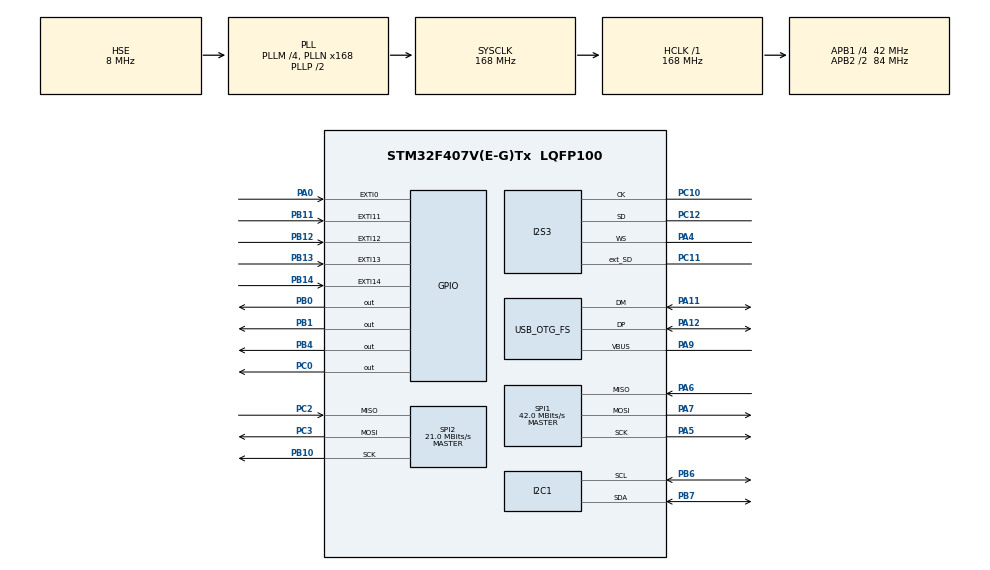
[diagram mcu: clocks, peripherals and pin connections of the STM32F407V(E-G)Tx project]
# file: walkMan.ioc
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Dma.Request0=SPI3_TX
Dma.SPI3_TX.0.Direction=DMA_MEMORY_TO_PERIPH
Dma.SPI3_TX.0.FIFOMode=DMA_FIFOMODE_ENABLE
Dma.SPI3_TX.0.FIFOThreshold=DMA_FIFO_THRESHOLD_FULL
Dma.SPI3_TX.0.Instance=DMA1_Stream5
Dma.SPI3_TX.0.MemBurst=DMA_MBURST_SINGLE
Dma.SPI3_TX.0.MemDataAlignment=DMA_MDATAALIGN_HALFWORD
Dma.SPI3_TX.0.MemInc=DMA_MINC_ENABLE
Dma.SPI3_TX.0.Mode=DMA_CIRCULAR
Dma.SPI3_TX.0.PeriphBurst=DMA_PBURST_SINGLE
Dma.SPI3_TX.0.PeriphDataAlignment=DMA_PDATAALIGN_HALFWORD
Dma.SPI3_TX.0.PeriphInc=DMA_PINC_DISABLE
Dma.SPI3_TX.0.Priority=DMA_PRIORITY_LOW
FATFS._FS_EXFAT=1
FATFS._MAX_SS=4096
FATFS._USE_LFN=1
I2S3.AudioFreq=I2S_AUDIOFREQ_44K
I2S3.ErrorAudioFreq=-0.25 %
I2S3.FullDuplexMode=I2S_FULLDUPLEXMODE_ENABLE
I2S3.Instance=SPI$Index
I2S3.RealAudioFreq=43.887 KHz
I2S3.VirtualMode=I2S_MODE_MASTER
Mcu.Family=STM32F4
Mcu.Name=STM32F407V(E-G)Tx
Mcu.Package=LQFP100
NVIC.DMA1_Stream5_IRQn=true\:0\:0\:false\:false\:true\:false\:true
NVIC.EXTI0_IRQn=true\:0\:0\:false\:false\:true\:true\:true
NVIC.EXTI15_10_IRQn=true\:0\:0\:false\:false\:true\:true\:true
NVIC.OTG_FS_IRQn=true\:0\:0\:false\:false\:true\:false\:true
NVIC.PriorityGroup=NVIC_PRIORITYGROUP_4
PA0-WKUP.Signal=GPXTI0
PA11.Mode=Host_Only
PA11.Signal=USB_OTG_FS_DM
PA12.Mode=Host_Only
PA12.Signal=USB_OTG_FS_DP
PA4.Mode=Full_Duplex_Master
PA4.Signal=I2S3_WS
PA5.Mode=Full_Duplex_Master
PA5.Signal=SPI1_SCK
PA6.Mode=Full_Duplex_Master
PA6.Signal=SPI1_MISO
PA7.Mode=Full_Duplex_Master
PA7.Signal=SPI1_MOSI
PA9.Mode=Activate_VBUS
PA9.Signal=USB_OTG_FS_VBUS
PB0.Signal=GPIO_Output
PB1.Signal=GPIO_Output
PB10.Mode=Full_Duplex_Master
PB10.Signal=SPI2_SCK
PB11.GPIO_ModeDefaultEXTI=GPIO_MODE_IT_RISING_FALLING
PB11.GPIO_PuPd=GPIO_PULLUP
PB11.Signal=GPXTI11
PB12.GPIO_ModeDefaultEXTI=GPIO_MODE_IT_RISING_FALLING
PB12.GPIO_PuPd=GPIO_PULLUP
PB12.Signal=GPXTI12
PB13.GPIO_ModeDefaultEXTI=GPIO_MODE_IT_RISING_FALLING
PB13.GPIO_PuPd=GPIO_PULLUP
PB13.Signal=GPXTI13
PB14.GPIO_ModeDefaultEXTI=GPIO_MODE_IT_RISING_FALLING
PB14.GPIO_PuPd=GPIO_PULLUP
PB14.Signal=GPXTI14
PB4.Signal=GPIO_Output
PB6.Mode=I2C
PB6.Signal=I2C1_SCL
PB7.Mode=I2C
PB7.Signal=I2C1_SDA
PC0.Signal=GPIO_Output
PC10.Mode=Full_Duplex_Master
PC10.Signal=I2S3_CK
PC11.Mode=Full_Duplex_Master
PC11.Signal=I2S3_ext_SD
PC12.Mode=Full_Duplex_Master
PC12.Signal=I2S3_SD
PC2.Mode=Full_Duplex_Master
PC2.Signal=SPI2_MISO
PC3.Mode=Full_Duplex_Master
PC3.Signal=SPI2_MOSI
PH0-OSC_IN.Mode=HSE-External-Oscillator
PH0-OSC_IN.Signal=RCC_OSC_IN
PH1-OSC_OUT.Mode=HSE-External-Oscillator
PH1-OSC_OUT.Signal=RCC_OSC_OUT
ProjectManager.HeapSize=0x400
ProjectManager.StackSize=0x800
ProjectManager.TargetToolchain=STM32CubeIDE
RCC.48MHZClocksFreq_Value=48000000
RCC.AHBFreq_Value=168000000
RCC.APB1CLKDivider=RCC_HCLK_DIV4
RCC.APB1Freq_Value=42000000
RCC.APB1TimFreq_Value=84000000
RCC.APB2CLKDivider=RCC_HCLK_DIV2
RCC.APB2Freq_Value=84000000
RCC.APB2TimFreq_Value=168000000
RCC.CortexFreq_Value=168000000
RCC.HCLKFreq_Value=168000000
RCC.HSE_VALUE=8000000
RCC.HSI_VALUE=16000000
RCC.LSE_VALUE=32768
RCC.PLLI2SN=191
RCC.PLLM=4
RCC.PLLN=168
RCC.PLLQ=7
RCC.SYSCLKFreq_VALUE=168000000
RCC.SYSCLKSource=RCC_SYSCLKSOURCE_PLLCLK
RCC.VCOOutputFreq_Value=336000000
SPI1.BaudRatePrescaler=SPI_BAUDRATEPRESCALER_2
SPI1.CalculateBaudRate=42.0 MBits/s
SPI1.Direction=SPI_DIRECTION_2LINES
SPI1.Mode=SPI_MODE_MASTER
SPI1.VirtualType=VM_MASTER
SPI2.BaudRatePrescaler=SPI_BAUDRATEPRESCALER_2
SPI2.CLKPhase=SPI_PHASE_1EDGE
SPI2.CLKPolarity=SPI_POLARITY_LOW
SPI2.CalculateBaudRate=21.0 MBits/s
SPI2.DataSize=SPI_DATASIZE_8BIT
SPI2.Direction=SPI_DIRECTION_2LINES
SPI2.Mode=SPI_MODE_MASTER
SPI2.VirtualType=VM_MASTER
USB_HOST.BSP.number=1
USB_HOST.USBH_HandleTypeDef-MSC_FS=hUsbHostFS
USB_HOST.VirtualModeFS=Msc
USB_HOST0.BSP.STBoard=false
USB_HOST0.BSP.api=Unknown
USB_HOST0.BSP.i2caddr=0
USB_HOST0.BSP.instance=PC0
USB_HOST0.BSP.ip=GPIO
USB_HOST0.BSP.mode=Output
USB_HOST0.BSP.name=Drive_VBUS_FS
USB_HOST0.BSP.solution=PC0
USB_OTG_FS.VirtualMode=Host_Only
USB_OTG_FS.phy_itface=HCD_PHY_EMBEDDED
VP_FATFS_VS_USB.Mode=USB
VP_USB_HOST_VS_USB_HOST_MSC_FS.Mode=MSC_FS
board=STM32F407G-DISC1

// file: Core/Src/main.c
/* USER CODE BEGIN Header */
/**
  ******************************************************************************
  * @file           : main.c
  * @brief          : Main program body
  ******************************************************************************
  * @attention
  *
  * Copyright (c) 2022 STMicroelectronics.
  * All rights reserved.
  *
  * This software is licensed under terms that can be found in the LICENSE file
  * in the root directory of this software component.
  * If no LICENSE file comes with this software, it is provided AS-IS.
  *
  ******************************************************************************
  */
/* USER CODE END Header */
#include "main.h"
#include "fatfs.h"
#include "usb_host.h"

/* USER CODE BEGIN Includes */
#include "fatfs_sd.h"
#include "LiquidCrystal.h"
#include <stdbool.h>
#include "wav_player.h"
/* USER CODE END Includes */

I2C_HandleTypeDef hi2c1;

I2S_HandleTypeDef hi2s3;
DMA_HandleTypeDef hdma_spi3_tx;

SPI_HandleTypeDef hspi1;
SPI_HandleTypeDef hspi2;

/* USER CODE BEGIN PV */
#define BUF_SIZE_SEND 256
char SendBuffer[BUF_SIZE_SEND];
int sd_state;
int IsFinished = 0;
extern AUDIO_PLAYBACK_StateTypeDef AudioState;

/* USER CODE END PV */

void SystemClock_Config(void);
static void MX_GPIO_Init(void);
static void MX_I2C1_Init(void);
static void MX_SPI1_Init(void);
static void MX_SPI2_Init(void);
static void MX_DMA_Init(void);
static void MX_I2S3_Init(void);
void MX_USB_HOST_Process(void);

/* USER CODE BEGIN 0 */
//File system
/*
FATFS fs;
FATFS *pfs;
FIL fil;
DIR dir;
FILINFO fno;
FRESULT fres;
DWORD fre_clust, fre_sect, tot_sect;
*/
int audioUpdate=0;
int newSong=0;
int updateLCD=0;
int play=1;
char lcdOutput[13];

/***************************************
 * Button interupt
 **************************************/

void HAL_GPIO_EXTI_Callback(uint16_t GPIO_Pin)
{
	if (GPIO_Pin == GPIO_PIN_0)
	{
		if (AudioState == AUDIO_STATE_PLAY)
		{
			updateLCD=1;
			play=0;
			AudioState = AUDIO_STATE_PAUSE;
		}

		if (AudioState == AUDIO_STATE_WAIT)
		{
			updateLCD=1;
			play=1;
			AudioState = AUDIO_STATE_RESUME;
		}
	}

	if (GPIO_Pin == GPIO_PIN_11)
	{
		updateLCD=1;
		audioUpdate=1;
		AudioState = AUDIO_STATE_VOLUME_DOWN;
	}

	if (GPIO_Pin == GPIO_PIN_12)
	{
		updateLCD=1;
		audioUpdate=1;
		AudioState = AUDIO_STATE_VOLUME_UP;
	}
	if (GPIO_Pin == GPIO_PIN_14)
	{
		updateLCD=1;
		audioUpdate=0;
		play=1;
		AudioState = AUDIO_STATE_PREVIOUS;
	}
	if (GPIO_Pin == GPIO_PIN_13)
	{
		updateLCD=1;
		audioUpdate=0;
		play=1;
		AudioState = AUDIO_STATE_NEXT;
	}
}

/* USER CODE END 0 */

int main(void)
{
  /* USER CODE BEGIN 1 */
	extern AUDIO_PLAYBACK_StateTypeDef AudioState;
	extern ApplicationTypeDef Appli_state;
  /* USER CODE END 1 */

  /* MCU Configuration--------------------------------------------------------*/

  /* Reset of all peripherals, Initializes the Flash interface and the Systick. */
   HAL_Init();

  /* Configure the system clock */
  SystemClock_Config();

  /* Initialize all configured peripherals */
  MX_GPIO_Init();
  MX_I2C1_Init();
  MX_SPI1_Init();
  MX_SPI2_Init();
  MX_DMA_Init();
  MX_I2S3_Init();
  MX_USB_HOST_Init();
  MX_FATFS_Init();
  /* USER CODE BEGIN 2 */
  LiquidCrystal(GPIOE, GPIO_PIN_7,GPIO_PIN_9, GPIO_PIN_8, GPIO_PIN_10, GPIO_PIN_11, GPIO_PIN_12, GPIO_PIN_13);
  print("LCD: [OK]");
  HAL_Delay(1000);
  clear();

  // Open Root
  //sd_state = mountSD();

  /* USER CODE END 2 */

  /* Infinite loop */
  /* USER CODE BEGIN WHILE */
  while (1)
  {

	  //sd_state = mountSD();
	  updateLCD=1;
	  MX_USB_HOST_Process();
	  if (sd_state || Appli_state==APPLICATION_READY)
	  {
		  if(Appli_state==APPLICATION_READY){
			  Mount_USB();
		  }
	      	AUDIO_PLAYER_Start(0);
	      	clear();
	      	while (!IsFinished)
	      	{
	      		char lcdOutput[13];
	      		char lcdFileName[16];
	      		if((audioUpdate && updateLCD))
	      		{
	      			updateLCD=0;
	      			clear();
	      			sprintf(lcdOutput,"VOL %d",getVol());
	    	      	print(lcdOutput);

	      		}
	      		else if((updateLCD && !audioUpdate) || (updateLCD && play))
	      		{
	      			updateLCD=0;
	      			clear();
	      			setCursor(0,0);
	      			sprintf(lcdFileName,"%16s",getFileName());
	    	      	print(lcdFileName);
	    	      	setCursor(0,1);
	    	      	if(play)
	    	      		print("PLAYING");
	    	      	else
	    	      		print("PAUSE");
	      		}

	      		AUDIO_PLAYER_Process(true);

	      		if (AudioState == AUDIO_STATE_STOP)
	      		{
	      			IsFinished = 1;
	      		}
	      	}
	      }

  	}
    /* USER CODE END WHILE */
    MX_USB_HOST_Process();

}

void SystemClock_Config(void)
{
  RCC_OscInitTypeDef RCC_OscInitStruct = {0};
  RCC_ClkInitTypeDef RCC_ClkInitStruct = {0};

  /** Configure the main internal regulator output voltage
  */
  __HAL_RCC_PWR_CLK_ENABLE();
  __HAL_PWR_VOLTAGESCALING_CONFIG(PWR_REGULATOR_VOLTAGE_SCALE1);
  /** Initializes the RCC Oscillators according to the specified parameters
  * in the RCC_OscInitTypeDef structure.
  */
  RCC_OscInitStruct.OscillatorType = RCC_OSCILLATORTYPE_HSE;
  RCC_OscInitStruct.HSEState = RCC_HSE_ON;
  RCC_OscInitStruct.PLL.PLLState = RCC_PLL_ON;
  RCC_OscInitStruct.PLL.PLLSource = RCC_PLLSOURCE_HSE;
  RCC_OscInitStruct.PLL.PLLM = 4;
  RCC_OscInitStruct.PLL.PLLN = 168;
  RCC_OscInitStruct.PLL.PLLP = RCC_PLLP_DIV2;
  RCC_OscInitStruct.PLL.PLLQ = 7;
  if (HAL_RCC_OscConfig(&RCC_OscInitStruct) != HAL_OK)
  {
    Error_Handler();
  }
  /** Initializes the CPU, AHB and APB buses clocks
  */
  RCC_ClkInitStruct.ClockType = RCC_CLOCKTYPE_HCLK|RCC_CLOCKTYPE_SYSCLK
                              |RCC_CLOCKTYPE_PCLK1|RCC_CLOCKTYPE_PCLK2;
  RCC_ClkInitStruct.SYSCLKSource = RCC_SYSCLKSOURCE_PLLCLK;
  RCC_ClkInitStruct.AHBCLKDivider = RCC_SYSCLK_DIV1;
  RCC_ClkInitStruct.APB1CLKDivider = RCC_HCLK_DIV4;
  RCC_ClkInitStruct.APB2CLKDivider = RCC_HCLK_DIV2;

  if (HAL_RCC_ClockConfig(&RCC_ClkInitStruct, FLASH_LATENCY_5) != HAL_OK)
  {
    Error_Handler();
  }
}

static void MX_I2C1_Init(void)
{

  hi2c1.Instance = I2C1;
  hi2c1.Init.ClockSpeed = 100000;
  hi2c1.Init.DutyCycle = I2C_DUTYCYCLE_2;
  hi2c1.Init.OwnAddress1 = 0;
  hi2c1.Init.AddressingMode = I2C_ADDRESSINGMODE_7BIT;
  hi2c1.Init.DualAddressMode = I2C_DUALADDRESS_DISABLE;
  hi2c1.Init.OwnAddress2 = 0;
  hi2c1.Init.GeneralCallMode = I2C_GENERALCALL_DISABLE;
  hi2c1.Init.NoStretchMode = I2C_NOSTRETCH_DISABLE;
  if (HAL_I2C_Init(&hi2c1) != HAL_OK)
  {
    Error_Handler();
  }

}

static void MX_I2S3_Init(void)
{

  hi2s3.Instance = SPI3;
  hi2s3.Init.Mode = I2S_MODE_MASTER_TX;
  hi2s3.Init.Standard = I2S_STANDARD_PHILIPS;
  hi2s3.Init.DataFormat = I2S_DATAFORMAT_16B;
  hi2s3.Init.MCLKOutput = I2S_MCLKOUTPUT_DISABLE;
  hi2s3.Init.AudioFreq = I2S_AUDIOFREQ_44K;
  hi2s3.Init.CPOL = I2S_CPOL_LOW;
  hi2s3.Init.ClockSource = I2S_CLOCK_PLL;
  hi2s3.Init.FullDuplexMode = I2S_FULLDUPLEXMODE_ENABLE;
  if (HAL_I2S_Init(&hi2s3) != HAL_OK)
  {
    Error_Handler();
  }

}

static void MX_SPI1_Init(void)
{

  /* SPI1 parameter configuration*/
  hspi1.Instance = SPI1;
  hspi1.Init.Mode = SPI_MODE_MASTER;
  hspi1.Init.Direction = SPI_DIRECTION_2LINES;
  hspi1.Init.DataSize = SPI_DATASIZE_8BIT;
  hspi1.Init.CLKPolarity = SPI_POLARITY_LOW;
  hspi1.Init.CLKPhase = SPI_PHASE_1EDGE;
  hspi1.Init.NSS = SPI_NSS_SOFT;
  hspi1.Init.BaudRatePrescaler = SPI_BAUDRATEPRESCALER_2;
  hspi1.Init.FirstBit = SPI_FIRSTBIT_MSB;
  hspi1.Init.TIMode = SPI_TIMODE_DISABLE;
  hspi1.Init.CRCCalculation = SPI_CRCCALCULATION_DISABLE;
  hspi1.Init.CRCPolynomial = 10;
  if (HAL_SPI_Init(&hspi1) != HAL_OK)
  {
    Error_Handler();
  }

}

static void MX_SPI2_Init(void)
{

  /* SPI2 parameter configuration*/
  hspi2.Instance = SPI2;
  hspi2.Init.Mode = SPI_MODE_MASTER;
  hspi2.Init.Direction = SPI_DIRECTION_2LINES;
  hspi2.Init.DataSize = SPI_DATASIZE_8BIT;
  hspi2.Init.CLKPolarity = SPI_POLARITY_LOW;
  hspi2.Init.CLKPhase = SPI_PHASE_1EDGE;
  hspi2.Init.NSS = SPI_NSS_SOFT;
  hspi2.Init.BaudRatePrescaler = SPI_BAUDRATEPRESCALER_2;
  hspi2.Init.FirstBit = SPI_FIRSTBIT_MSB;
  hspi2.Init.TIMode = SPI_TIMODE_DISABLE;
  hspi2.Init.CRCCalculation = SPI_CRCCALCULATION_DISABLE;
  hspi2.Init.CRCPolynomial = 10;
  if (HAL_SPI_Init(&hspi2) != HAL_OK)
  {
    Error_Handler();
  }

}

static void MX_DMA_Init(void)
{

  /* DMA controller clock enable */
  __HAL_RCC_DMA1_CLK_ENABLE();

  /* DMA interrupt init */
  /* DMA1_Stream5_IRQn interrupt configuration */
  HAL_NVIC_SetPriority(DMA1_Stream5_IRQn, 0, 0);
  HAL_NVIC_EnableIRQ(DMA1_Stream5_IRQn);

}

static void MX_GPIO_Init(void)
{
  GPIO_InitTypeDef GPIO_InitStruct = {0};

  /* GPIO Ports Clock Enable */
  __HAL_RCC_GPIOH_CLK_ENABLE();
  __HAL_RCC_GPIOC_CLK_ENABLE();
  __HAL_RCC_GPIOA_CLK_ENABLE();
  __HAL_RCC_GPIOB_CLK_ENABLE();

  /*Configure GPIO pin Output Level */
  HAL_GPIO_WritePin(GPIOC, GPIO_PIN_0, GPIO_PIN_RESET);

  /*Configure GPIO pin Output Level */
  HAL_GPIO_WritePin(GPIOB, GPIO_PIN_0|GPIO_PIN_1|GPIO_PIN_4, GPIO_PIN_RESET);

  /*Configure GPIO pin : PC0 */
  GPIO_InitStruct.Pin = GPIO_PIN_0;
  GPIO_InitStruct.Mode = GPIO_MODE_OUTPUT_PP;
  GPIO_InitStruct.Pull = GPIO_NOPULL;
  GPIO_InitStruct.Speed = GPIO_SPEED_FREQ_LOW;
  HAL_GPIO_Init(GPIOC, &GPIO_InitStruct);

  /*Configure GPIO pin : PA0 */
  GPIO_InitStruct.Pin = GPIO_PIN_0;
  GPIO_InitStruct.Mode = GPIO_MODE_IT_RISING;
  GPIO_InitStruct.Pull = GPIO_NOPULL;
  HAL_GPIO_Init(GPIOA, &GPIO_InitStruct);

  /*Configure GPIO pins : PB0 PB1 PB4 */
  GPIO_InitStruct.Pin = GPIO_PIN_0|GPIO_PIN_1|GPIO_PIN_4;
  GPIO_InitStruct.Mode = GPIO_MODE_OUTPUT_PP;
  GPIO_InitStruct.Pull = GPIO_NOPULL;
  GPIO_InitStruct.Speed = GPIO_SPEED_FREQ_LOW;
  HAL_GPIO_Init(GPIOB, &GPIO_InitStruct);

  /*Configure GPIO pins : PB11 PB12 PB13 PB14 */
  GPIO_InitStruct.Pin = GPIO_PIN_11|GPIO_PIN_12|GPIO_PIN_13|GPIO_PIN_14;
  GPIO_InitStruct.Mode = GPIO_MODE_IT_RISING_FALLING;
  GPIO_InitStruct.Pull = GPIO_PULLUP;
  HAL_GPIO_Init(GPIOB, &GPIO_InitStruct);

  /* EXTI interrupt init*/
  HAL_NVIC_SetPriority(EXTI0_IRQn, 0, 0);
  HAL_NVIC_EnableIRQ(EXTI0_IRQn);

  HAL_NVIC_SetPriority(EXTI15_10_IRQn, 0, 0);
  HAL_NVIC_EnableIRQ(EXTI15_10_IRQn);

}

void Error_Handler(void)
{
  __disable_irq();
  while (1)
  {
  }
}
